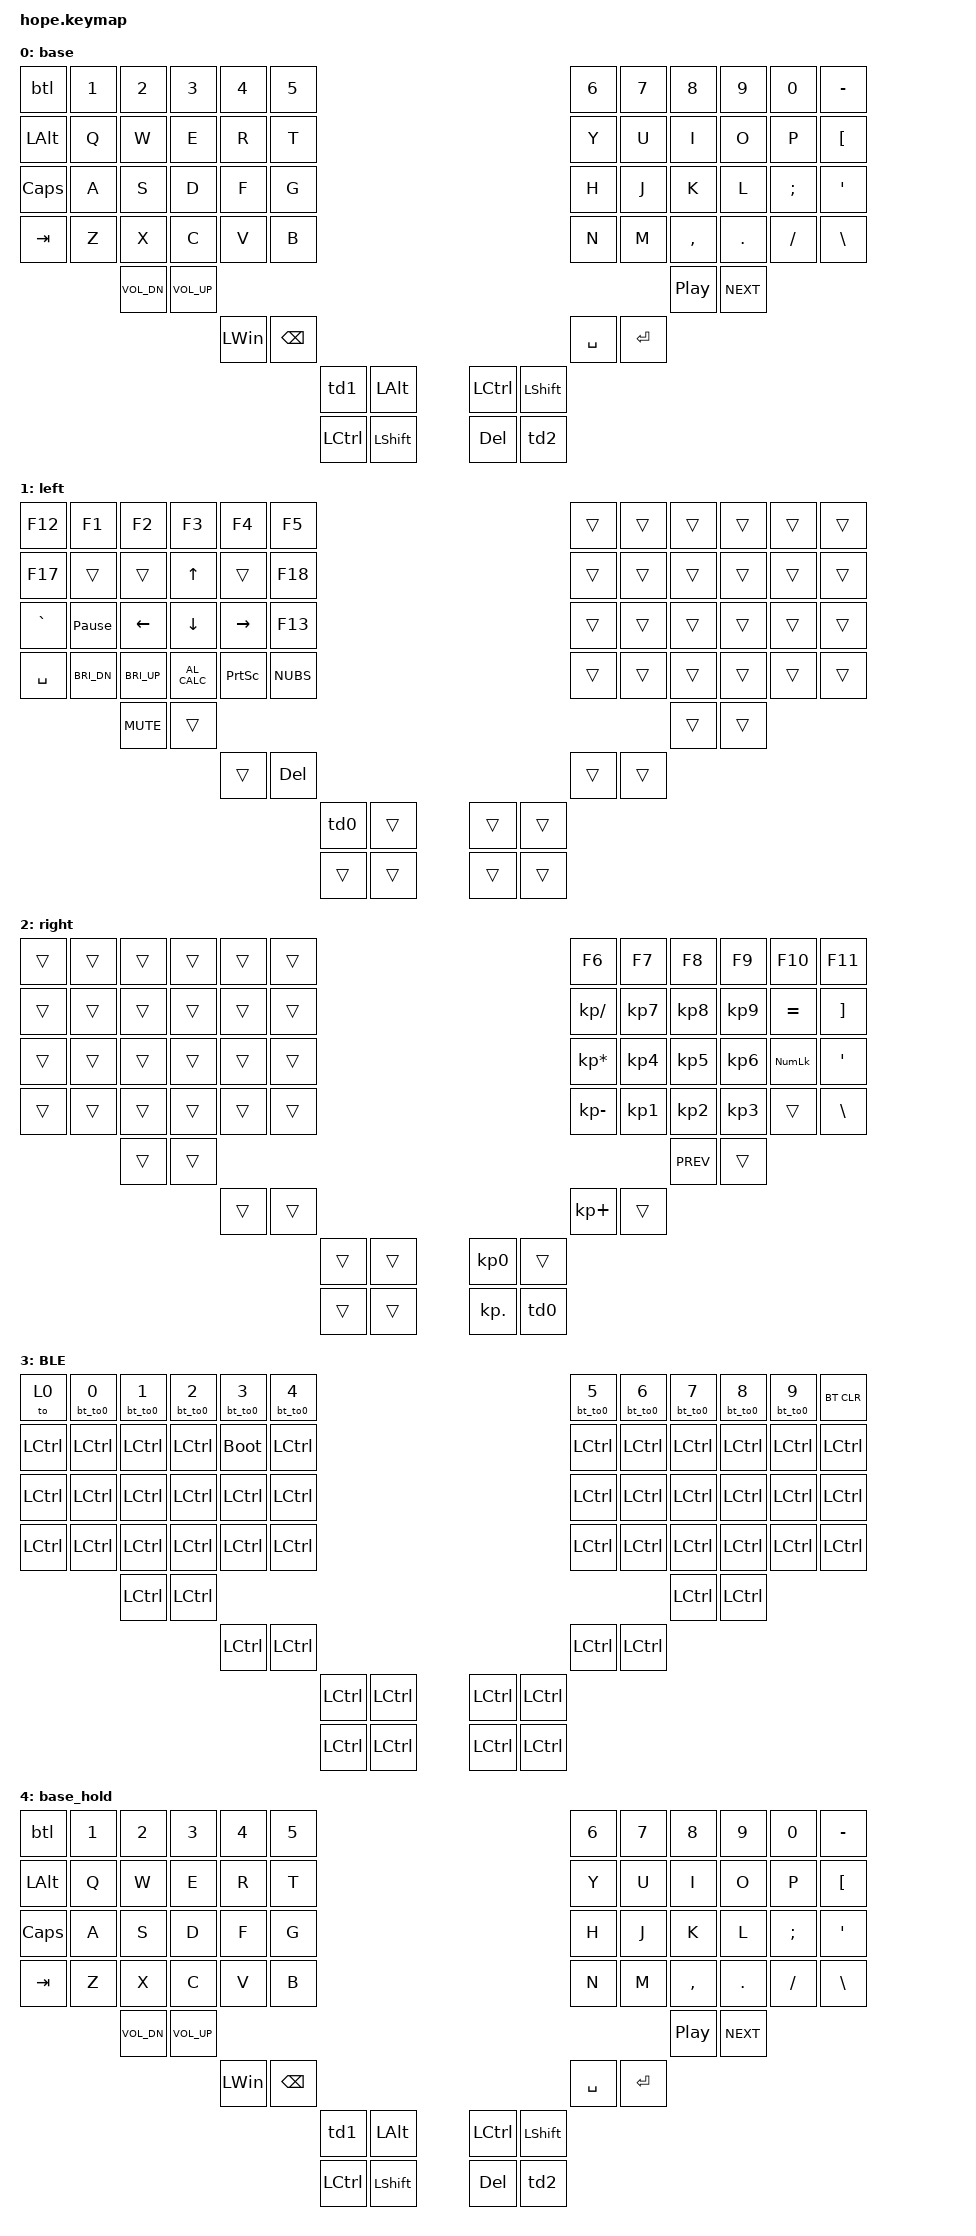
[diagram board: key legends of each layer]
/*
* Copyright (c) 2020 The ZMK Contributors
*
* SPDX-License-Identifier: MIT
*/

#include <behaviors.dtsi>
#include <dt-bindings/zmk/keys.h>
#include <dt-bindings/zmk/bt.h>
#include "keys_it.h"
/ {
    macros {
        // Select BT profile N, then go back to layer 0
        bt_to0: bt_select_to_base {
            compatible = "zmk,behavior-macro-one-param";
            #binding-cells = <1>;
            bindings
                = <&macro_param_1to2>
                , <&macro_tap &bt BT_SEL 0>
                , <&macro_tap &to 0>
                ;
        };
    };
    behaviors {
        // hold: momentary layer 1 | double-tap: go to layer 1
        td1: tap_dance_1 {
            compatible = "zmk,behavior-tap-dance";
            #binding-cells = <0>;
            tapping-term-ms = <300>;
            bindings = <&mo 1>, <&to 1>;
        };

        // hold: momentary layer 2 | double-tap: go to layer 2
        td2: tap_dance_2 {
            compatible = "zmk,behavior-tap-dance";
            #binding-cells = <0>;
            tapping-term-ms = <300>;
            bindings = <&mo 2>, <&to 2>;
        };

        // hold: base keys (layer 4) | double-tap: back to layer 0
        td0: tap_dance_0 {
            compatible = "zmk,behavior-tap-dance";
            #binding-cells = <0>;
            tapping-term-ms = <300>;
            bindings = <&mo 4>, <&to 0>;
        };

        // BLE layer access (keep as tap-dance for multi-tap protection)
        btl: ble_layer {
            compatible = "zmk,behavior-tap-dance";
            #binding-cells = <0>;
            tapping-term-ms = <1000>;
            bindings = <&kp ESC>, <&kp ESC>, <&kp ESC>, <&kp ESC>, <&to 3>;
        };
    };

    keymap {
        compatible = "zmk,keymap";
        
        layer0 {
            label = "base";
            bindings = <
                &btl &kp N1 &kp N2 &kp N3 &kp N4 &kp N5     &kp N6 &kp N7 &kp N8 &kp N9 &kp N0 &kp MINUS 
                &kp LALT &kp Q &kp W &kp E &kp R &kp T        &kp Y &kp U &kp I &kp O &kp P &kp LBKT 
                &kp CAPS &kp A &kp S &kp D &kp F &kp G        &kp H &kp J &kp K &kp L &kp SEMICOLON &kp SQT 
                &kp TAB  &kp Z &kp X &kp C &kp V &kp B            &kp N &kp M &kp COMMA &kp DOT &kp FSLH &kp BSLH 

                &kp C_VOL_DN &kp C_VOL_UP                 &kp C_PP &kp C_NEXT 
                &kp LWIN &kp BSPC                  &kp SPACE &kp RET 
                &td1  &kp LALT                         &kp LCTRL  &kp LSHFT 
                &kp LCTRL  &kp LSHFT            &kp DEL &td2
            >;
        };
        
        layer1 {
            label = "left";
            bindings = <
                &kp F12 &kp F1 &kp F2 &kp F3 &kp F4 &kp F5                                                              &trans &trans &trans &trans &trans &trans
                &kp F17 &trans &trans &kp UP &trans &kp F18                                                              &trans &trans &trans &trans &trans &trans 
                &kp GRAVE &kp PAUSE_BREAK &kp LEFT &kp DOWN &kp RIGHT &kp F13                                                   &trans &trans &trans &trans &trans &trans 
                &kp SPACE &kp C_BRI_DN &kp C_BRI_UP &kp C_AL_CALC &kp PSCRN &kp NUBS          &trans &trans &trans &trans &trans &trans 

                &kp C_MUTE &trans                                                                                       &trans &trans 
                &trans &kp DELETE                                                                                       &trans &trans 
                &td0 &trans                                                                                   &trans &trans 
                &trans &trans                                                                                   &trans &trans
            >;
        };
        
        layer2 {
            label = "right";
            bindings = <
                &trans &trans &trans &trans &trans &trans     &kp F6 &kp F7 &kp F8 &kp F9 &kp F10 &kp F11 
                &trans &trans &trans &trans &trans &trans     &kp KP_SLASH &kp KP_N7 &kp KP_N8 &kp KP_N9 &kp EQUAL &kp RBKT 
                &trans &trans &trans &trans &trans &trans     &kp KP_ASTERISK &kp KP_N4 &kp KP_N5 &kp KP_N6 &kp KP_NUMLOCK &kp SQT 
                &trans &trans &trans &trans &trans &trans     &kp KP_MINUS &kp KP_N1 &kp KP_N2 &kp KP_N3 &trans &kp BSLH 
                &trans &trans                                       &kp C_PREV &trans 
                &trans &trans                                       &kp KP_PLUS &trans 
                &trans &trans                                       &kp KP_N0 &trans 
                &trans &trans                                       &kp KP_DOT &td0
            >;
        };
        
        layer3 {
            label = "BLE";
            bindings = <
                &to 0   &bt_to0 0 &bt_to0 1 &bt_to0 2 &bt_to0 3 &bt_to0 4     &bt_to0 5 &bt_to0 6 &bt_to0 7 &bt_to0 8  &bt_to0 9 &bt BT_CLR
                &kp LCTRL &kp LCTRL &kp LCTRL &kp LCTRL &bootloader &kp LCTRL                                   &kp LCTRL &kp LCTRL &kp LCTRL &kp LCTRL &kp LCTRL &kp LCTRL
                &kp LCTRL &kp LCTRL &kp LCTRL &kp LCTRL &kp LCTRL &kp LCTRL                                   &kp LCTRL &kp LCTRL &kp LCTRL &kp LCTRL &kp LCTRL &kp LCTRL
                &kp LCTRL &kp LCTRL &kp LCTRL &kp LCTRL &kp LCTRL &kp LCTRL                                   &kp LCTRL &kp LCTRL &kp LCTRL &kp LCTRL &kp LCTRL &kp LCTRL 
                &kp LCTRL &kp LCTRL                                                               &kp LCTRL &kp LCTRL               
                &kp LCTRL &kp LCTRL                                                 &kp LCTRL &kp LCTRL                                   
                &kp LCTRL &kp LCTRL                                       &kp LCTRL &kp LCTRL         
                &kp LCTRL &kp LCTRL                                       &kp LCTRL &kp LCTRL
            >;
        };

        layer4 {
            label = "base_hold";
            bindings = <
                &btl &kp N1 &kp N2 &kp N3 &kp N4 &kp N5     &kp N6 &kp N7 &kp N8 &kp N9 &kp N0 &kp MINUS 
                &kp LALT &kp Q &kp W &kp E &kp R &kp T        &kp Y &kp U &kp I &kp O &kp P &kp LBKT 
                &kp CAPS &kp A &kp S &kp D &kp F &kp G        &kp H &kp J &kp K &kp L &kp SEMICOLON &kp SQT 
                &kp TAB  &kp Z &kp X &kp C &kp V &kp B        &kp N &kp M &kp COMMA &kp DOT &kp FSLH &kp BSLH 

                &kp C_VOL_DN &kp C_VOL_UP                 &kp C_PP &kp C_NEXT 
                &kp LWIN &kp BSPC                         &kp SPACE &kp RET 
                &td1  &kp LALT                        &kp LCTRL  &kp LSHFT 
                &kp LCTRL  &kp LSHFT                      &kp DEL &td2
            >;
        };
        extra2 {
            status = "reserved";
        };
    };
};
